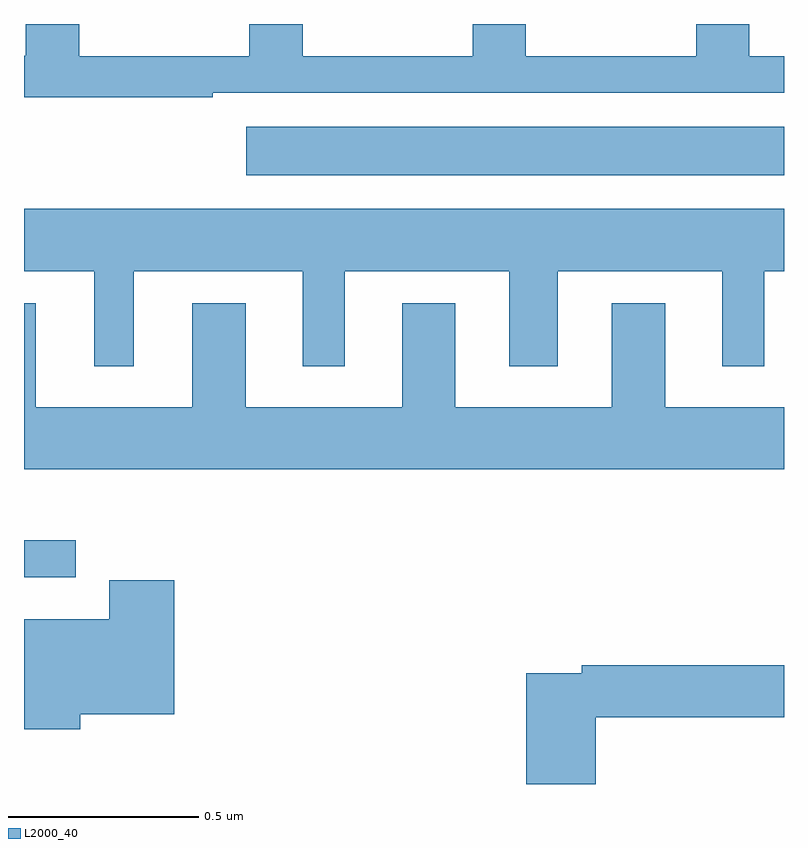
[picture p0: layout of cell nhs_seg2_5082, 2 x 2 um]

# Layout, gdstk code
import gdstk
lib = gdstk.Library(unit=1e-6, precision=1e-09)
def R(c, l, rs):  # rectangles x0, y0, x1, y1
    for r in rs: c.add(gdstk.rectangle(r[:2], r[2:], *l))
def P(c, l, *ps):  # polygons
    for p in ps: c.add(gdstk.Polygon(p, *l))
L2000_40 = (2000, 40)

nhs_seg2_5082 = lib.new_cell('nhs_seg2_5082')
R(nhs_seg2_5082, L2000_40, [(174,655.344,174.136,655.442), (174.585,656.402,176,656.53)])
P(nhs_seg2_5082, L2000_40, [(174.497,656.619),(176,656.619),(176,656.715),(175.909,656.715),(175.909,656.8),(175.769,656.8),(175.769,656.715),(175.321,656.715),(175.321,656.8),(175.181,656.8),(175.181,656.715),(174.733,656.715),(174.733,656.8),(174.593,656.8),(174.593,656.715),(174.145,656.715),(174.145,656.8),(174.005,656.8),(174.005,656.716),(174,656.716),(174,656.607),(174.497,656.607)],
  [(174.289,656.15),(174.734,656.15),(174.734,655.899),(174.844,655.899),(174.844,656.15),(175.277,656.15),(175.277,655.899),(175.405,655.899),(175.405,656.15),(175.838,656.15),(175.838,655.899),(175.948,655.899),(175.948,656.15),(176,656.15),(176,656.314),(174,656.314),(174,656.15),(174.185,656.15),(174.185,655.899),(174.289,655.899)],
  [(176,655.792),(175.687,655.792),(175.687,656.065),(175.547,656.065),(175.547,655.792),(175.135,655.792),(175.135,656.065),(174.995,656.065),(174.995,655.792),(174.583,655.792),(174.583,656.065),(174.443,656.065),(174.443,655.792),(174.031,655.792),(174.031,656.065),(174,656.065),(174,655.628),(176,655.628)],
  [(174.148,654.983),(174.395,654.983),(174.395,655.336),(174.224,655.336),(174.224,655.234),(174,655.234),(174,654.944),(174.148,654.944)],
  [(175.505,654.976),(176,654.976),(176,655.112),(175.468,655.112),(175.468,655.092),(175.322,655.092),(175.322,654.8),(175.505,654.8)])

lib.write_gds('nhs_seg2_5082.gds')
